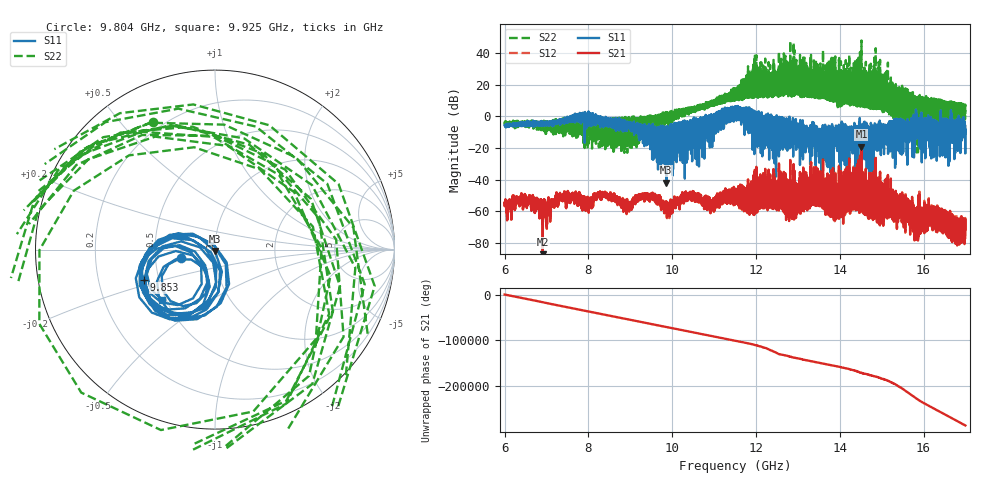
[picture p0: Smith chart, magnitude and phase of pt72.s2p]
#  HZ  S  RI  R  50.00
! Rohde & Schwarz Vector Network Analyzer
! Rohde-Schwarz,ZNA67-2Port,1332450062101215,3.01
! Created: UTC 10/16/2026, 2:13:17 PM
! freq[Hz]  re:S11  im:S11  re:S21  im:S21  re:S12  im:S12  re:S22  im:S22
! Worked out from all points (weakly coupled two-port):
!   11001 points, 6 GHz to 17 GHz, reference 50 ohm
!   highest |S21| = -19.00 dB at 14.52 GHz (marker M1); lowest = -87.1 dB at 6.91 GHz (marker M2)
!   lowest |S11| = -41.8 dB at 9.86 GHz (marker M3), VSWR 1.02, Z = 50 - j0.815 ohm
!   |S11| at or under -10 dB: 13.52801 GHz to 13.56853 GHz (40.52 MHz wide, 0.299 % of centre); 13.61208 GHz to 13.6477 GHz (35.61 MHz wide, 0.261 % of centre); 13.93435 GHz to 13.96273 GHz (28.38 MHz wide, 0.203 % of centre) (the widest 3 of 482)
!   |S22| runs from -23.3 to 48.0 dB; largest |S21 - S12| = 0.016
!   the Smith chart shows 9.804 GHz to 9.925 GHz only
!   S11 on the Smith chart (normalised r, x): 9.804 GHz: 0.68, -0.07; 9.853 GHz: 0.41, -0.17; 9.925 GHz: 0.48, -0.32
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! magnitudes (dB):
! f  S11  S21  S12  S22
! 6 GHz  -5.7  -54.9  -55.1  -5.2
! 6.444 GHz  -5.2  -56.5  -56.4  -5.3
! 6.91 GHz  -5.0  -87.1  -80.6  -7.7
! 7.395 GHz  -2.0  -51.7  -51.3  -3.3
! 7.834 GHz  -1.0  -53.4  -53.4  -4.3
! 9.667 GHz  -7.0  -52.0  -52.2  0.2
! 9.804 GHz  -14.2  -58.1  -58.2  -2.0
! 9.853 GHz  -7.3  -56.5  -56.8  1.6
! 9.86 GHz  -41.8  -59.2  -59.4  -3.8
! 9.925 GHz  -7.9  -58.6  -58.9  1.8
! 10.45 GHz  -3.4  -52.2  -52.2  4.6
! 10.96 GHz  -11.1  -53.7  -54.2  9.8
! 11.5 GHz  6.4  -53.4  -53.2  11.7
! 12.55 GHz  -4.9  -59.5  -59.2  12.7
! 12.83 GHz  -9.5  -59.8  -60.1  15.5
! 13.33 GHz  -9.3  -52.2  -52.3  15.8
! 13.93 GHz  -12.9  -60.4  -60.3  11.8
! 14.52 GHz  -17.0  -19.0  -19.1  48.0
! 15.17 GHz  -14.1  -58.7  -58.2  4.0
! 15.8 GHz  -3.5  -63.0  -62.6  5.9
! 16.29 GHz  -4.8  -62.8  -63.1  4.0
! 17 GHz  -6.0  -71.4  -71.8  1.6
